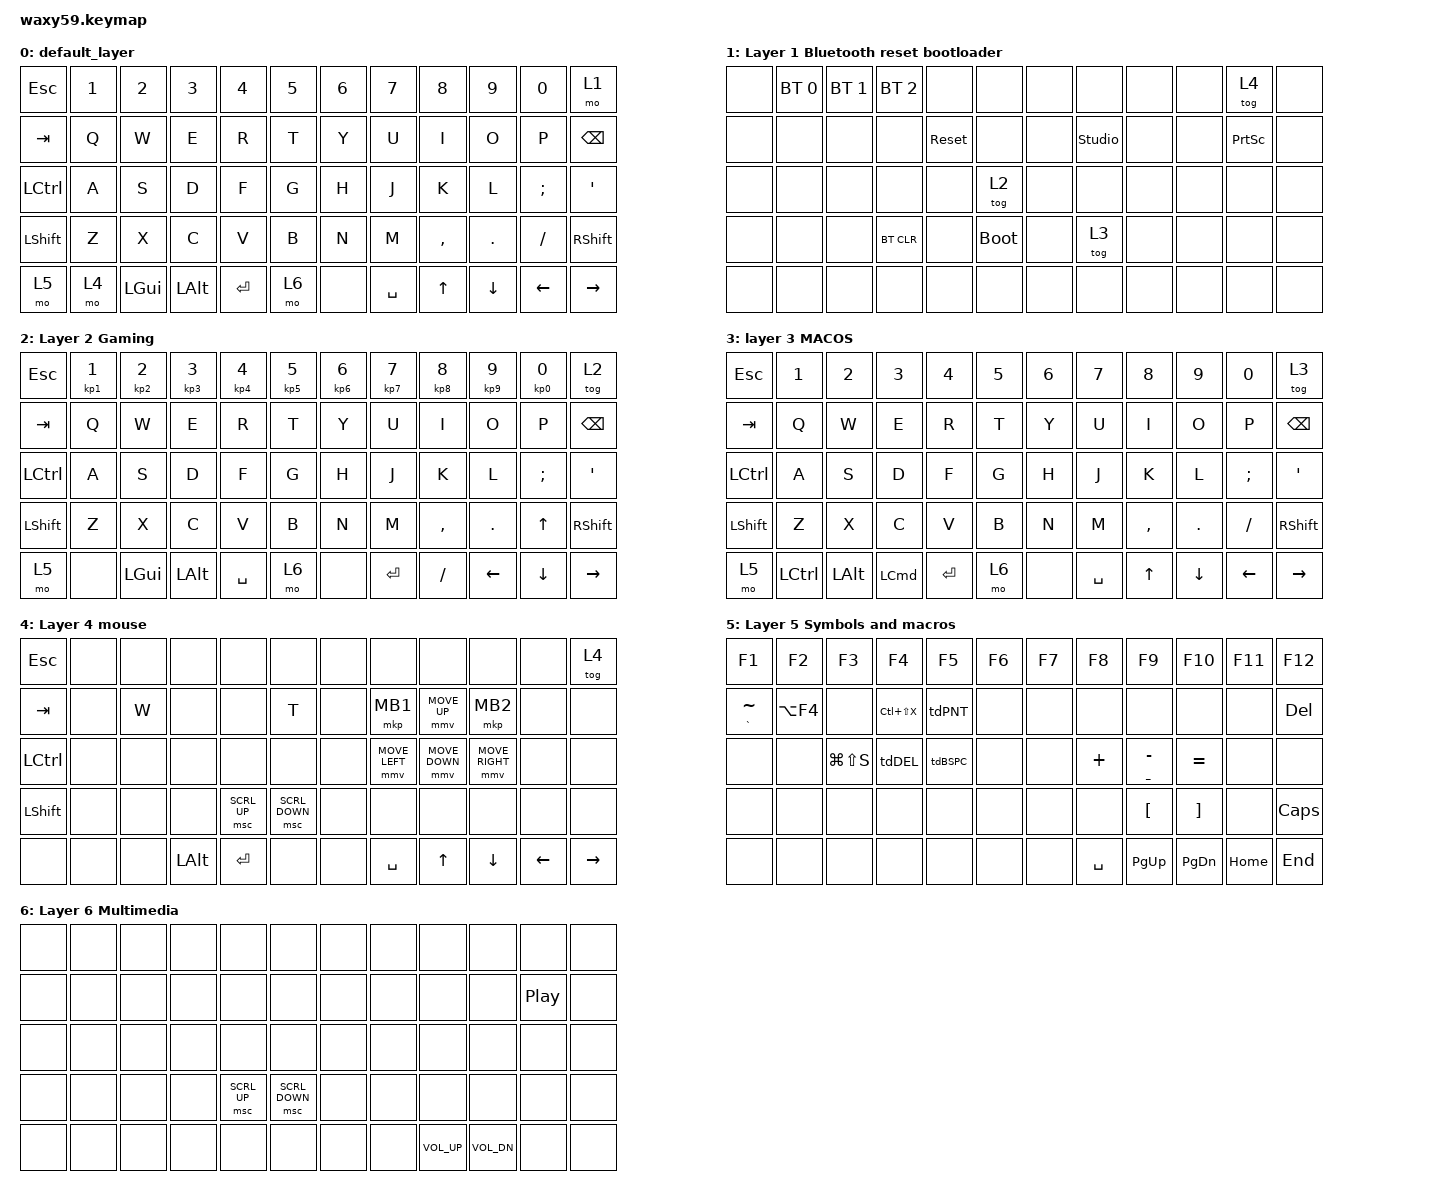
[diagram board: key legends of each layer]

#define ZMK_POINTING_DEFAULT_SCRL_VAL 10    // default: 10
#define ZMK_POINTING_DEFAULT_MOVE_VAL 5000  // default: 600

#include <behaviors.dtsi>
#include <dt-bindings/zmk/keys.h>
#include <dt-bindings/zmk/bt.h>
#include <dt-bindings/zmk/pointing.h>

/ {

        macros {
        altf4: altf4 {
            compatible = "zmk,behavior-macro";
            #binding-cells = <0>;
            bindings
                = <&macro_press &kp LALT>
                , <&macro_tap &kp F4>
                , <&macro_release &kp LALT>
				;
        };

        csx: csx {
            compatible = "zmk,behavior-macro";
            #binding-cells = <0>;
            bindings
                = <&macro_press &kp LCTRL>
                , <&macro_press &kp LSHFT>
                , <&macro_tap &kp X>
                , <&macro_release &kp LCTRL>
                , <&macro_release &kp LSHFT>
				;
        };

        wss: wss {
            compatible = "zmk,behavior-macro";
            #binding-cells = <0>;
            bindings
                = <&macro_press &kp LGUI>
                , <&macro_press &kp LSHFT>
                , <&macro_tap &kp S>
                , <&macro_release &kp LGUI>
                , <&macro_release &kp LSHFT>
				;
        };
        csxcs: csxcs {
           compatible = "zmk,behavior-macro";
            #binding-cells = <0>;
            bindings
                = <&macro_press &kp LCTRL>
                , <&macro_press &kp LSHFT>
                , <&macro_tap &kp X>
                , <&macro_release &kp LCTRL>
                , <&macro_release &kp LSHFT>
                , <&macro_press &kp LCTRL>
                , <&macro_tap &kp S>
                , <&macro_release &kp LCTRL>
                ;
        };

        csxcsaltf4: csxcsaltf4 {
           compatible = "zmk,behavior-macro";
            #binding-cells = <0>;
            bindings
                = <&macro_press &kp LCTRL>
                , <&macro_press &kp LSHFT>
                , <&macro_tap &kp X>
                , <&macro_release &kp LCTRL>
                , <&macro_release &kp LSHFT>
                , <&macro_press &kp LCTRL>
                , <&macro_tap &kp S>
                , <&macro_release &kp LCTRL>
                , <&macro_press &kp LALT>
                , <&macro_tap &kp F4>
                , <&macro_release &kp LALT>
                ;
        };

    };

    behaviors {
        tdDEL: tap_dance_0 {
            compatible = "zmk,behavior-tap-dance";
            #binding-cells = <0>;
            tapping-term-ms = <200>;
            bindings = <&kp DEL>, <&kp LC(DEL)>;
        };

        tdBSPC: tap_dance_1 {
            compatible = "zmk,behavior-tap-dance";
            #binding-cells = <0>;
            tapping-term-ms = <200>;
            bindings = <&kp BSPC>, <&kp LC(BSPC)>;
        };

        tdPNT: tap_dance_2 {
            compatible = "zmk,behavior-tap-dance";
            #binding-cells = <0>;
            tapping-term-ms = <200>;
            bindings = <&csxcs>, <&csxcsaltf4>;
        };
    };

        keymap {
        compatible = "zmk,keymap";

        default_layer {
            //    ESC       1        2         3         4       5       6         7          8         9         0          -
            bindings = <
                &kp ESC    &kp N1  &kp N2    &kp N3    &kp N4   &kp N5  &kp N6  &kp N7     &kp N8     &kp N9    &kp N0    &mo 1
                &kp TAB    &kp Q   &kp W     &kp E     &kp R    &kp T   &kp Y   &kp U      &kp I      &kp O     &kp P     &kp BSPC
                &kp LCTRL  &kp A   &kp S     &kp D     &kp F    &kp G   &kp H   &kp J      &kp K      &kp L     &kp SEMI  &kp APOS
                &kp LSHFT  &kp Z   &kp X     &kp C     &kp V    &kp B   &kp N   &kp M      &kp COMMA  &kp DOT   &kp FSLH  &kp RSHFT
                &mo 5      &mo 4   &kp LGUI  &kp LALT  &kp RET  &mo 6   &none   &kp SPACE  &kp UP     &kp DOWN  &kp LEFT  &kp RIGHT
            >;
        };

        BT_layer {
            display-name = "Layer 1 Bluetooth reset bootloader";
            //  ESC        1             2             3            4            5         6          7           8      9        0        -
            bindings = <
                &none  &bt BT_SEL 0  &bt BT_SEL 1  &bt BT_SEL 2  &none       &none        &none  &none           &none  &none  &tog 4     &none
                &none  &none         &none         &none         &sys_reset  &none        &none  &studio_unlock  &none  &none  &kp PSCRN  &none
                &none  &none         &none         &none         &none       &tog 2       &none  &none           &none  &none  &none      &none
                &none  &none         &none         &bt BT_CLR    &none       &bootloader  &none  &tog 3          &none  &none  &none      &none
                &none  &none         &none         &none         &none       &none        &none  &none           &none  &none  &none      &none
            >;
        };

        gaming_layer {
            display-name = "Layer 2 Gaming";
            //    ESC          1             2             3             4             5             6             7             8             9             0            -
            bindings = <
                &kp ESC    &mt KP_N1 N1  &mt KP_N2 N2  &mt KP_N3 N3  &mt KP_N4 N4  &mt KP_N5 N5  &mt KP_N6 N6  &mt KP_N7 N7  &mt KP_N8 N8  &mt KP_N9 N9  &mt KP_N0 N0  &tog 2
                &kp TAB    &kp Q         &kp W         &kp E         &kp R         &kp T         &kp Y         &kp U         &kp I         &kp O         &kp P         &kp BSPC
                &kp LCTRL  &kp A         &kp S         &kp D         &kp F         &kp G         &kp H         &kp J         &kp K         &kp L         &kp SEMI      &kp APOS
                &kp LSHFT  &kp Z         &kp X         &kp C         &kp V         &kp B         &kp N         &kp M         &kp COMMA     &kp DOT       &kp UP        &kp RSHFT
                &mo 5      &none         &kp LGUI      &kp LALT      &kp SPACE     &mo 6         &none         &kp RET       &kp FSLH      &kp LEFT      &kp DOWN      &kp RIGHT
            >;
        };

            MACOS_layer {
            display-name = "layer 3 MACOS";
            //    ESC         1         2         3         4       5       6         7          8         9         0          -
            bindings = <
                &kp ESC    &kp N1     &kp N2    &kp N3    &kp N4   &kp N5  &kp N6  &kp N7     &kp N8     &kp N9    &kp N0    &tog 3
                &kp TAB    &kp Q      &kp W     &kp E     &kp R    &kp T   &kp Y   &kp U      &kp I      &kp O     &kp P     &kp BSPC
                &kp LCTRL  &kp A      &kp S     &kp D     &kp F    &kp G   &kp H   &kp J      &kp K      &kp L     &kp SEMI  &kp APOS
                &kp LSHFT  &kp Z      &kp X     &kp C     &kp V    &kp B   &kp N   &kp M      &kp COMMA  &kp DOT   &kp FSLH  &kp RSHFT
                &mo 5      &kp LCTRL  &kp LALT  &kp LCMD  &kp RET  &mo 6   &none   &kp SPACE  &kp UP     &kp DOWN  &kp LEFT  &kp RIGHT
            >;
        };

            mouse_layer {
            display-name = "Layer 4 mouse";
            //    ESC       1      2       3           4              5           6          7               8                9            0          -
            bindings = <
                &kp ESC    &none  &none  &none     &none         &none           &none  &none           &none           &none            &none     &tog 4
                &kp TAB    &none  &kp W  &none     &none         &kp T           &none  &mkp MB1        &mmv MOVE_UP    &mkp MB2         &none     &none
                &kp LCTRL  &none  &none  &none     &none         &none           &none  &mmv MOVE_LEFT  &mmv MOVE_DOWN  &mmv MOVE_RIGHT  &none     &none
                &kp LSHFT  &none  &none  &none     &msc SCRL_UP  &msc SCRL_DOWN  &none  &none           &none           &none            &none     &none
                &none      &none  &none  &kp LALT  &kp RET       &none           &none  &kp SPACE       &kp UP          &kp DOWN         &kp LEFT  &kp RIGHT
            >;
        };  

        Symbols_layer {
            display-name = "Layer 5 Symbols and macros";
            //       ESC            1             2              3           4       5       6         7             8             9         0         -
            bindings = <
                &kp F1           &kp F2      &kp F3         &kp F4         &kp F5   &kp F6  &kp F7  &kp F8     &kp F9           &kp F10    &kp F11   &kp F12
                &mt GRAVE TILDE  &kp LA(F4)  &none          &kp LC(LS(X))  &tdPNT   &none   &none   &none      &none            &none      &none     &kp DEL
                &none            &none       &kp LG(LS(S))  &tdDEL         &tdBSPC  &none   &none   &kp PLUS   &mt UNDER MINUS  &kp EQUAL  &none     &none
                &none            &none       &none          &none          &none    &none   &none   &none      &kp LBKT         &kp RBKT   &none     &kp CAPS
                &none            &none       &none          &none          &none    &none   &none   &kp SPACE  &kp PG_UP        &kp PG_DN  &kp HOME  &kp END
            >;
        };

        Multimedia_layer {
            display-name = "Layer 6 Multimedia";
            //  ESC     1      2      3         4              5           6      7         8             9           0        -
            bindings = <
                &none  &none  &none  &none  &none         &none           &none  &none  &none         &none         &none     &none
                &none  &none  &none  &none  &none         &none           &none  &none  &none         &none         &kp C_PP  &none
                &none  &none  &none  &none  &none         &none           &none  &none  &none         &none         &none     &none
                &none  &none  &none  &none  &msc SCRL_UP  &msc SCRL_DOWN  &none  &none  &none         &none         &none     &none
                &none  &none  &none  &none  &none         &none           &none  &none  &kp C_VOL_UP  &kp C_VOL_DN  &none     &none
            >;
        };  
    };
};
